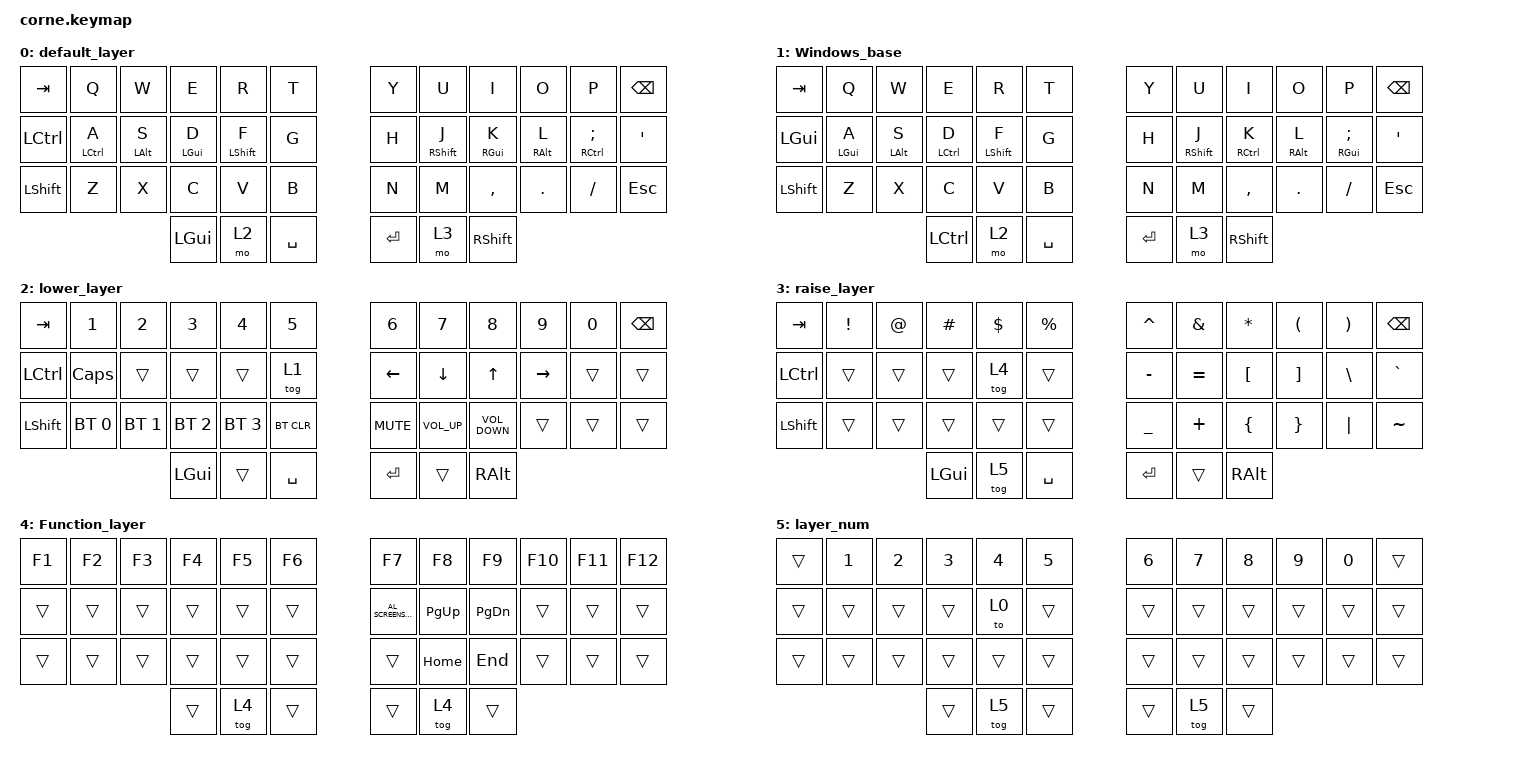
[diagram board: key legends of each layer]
/*
 * Copyright (c) 2020 The ZMK Contributors
 *
 * SPDX-License-Identifier: MIT
 */

#include <behaviors.dtsi>
#include <dt-bindings/zmk/bt.h>
#include <dt-bindings/zmk/keys.h>

/ {
    combos {
        compatible = "zmk,combos";

        toggle3 {
            bindings = <&mo 4>;
            key-positions = <37 40>;
        };
    };

    behaviors {
        HMShiftR: HMShiftR {
            compatible = "zmk,behavior-hold-tap";
            label = "HMSHIFTR";
            bindings = <&kp>, <&kp>;

            #binding-cells = <2>;
            tapping-term-ms = <200>;
            hold-trigger-key-positions = <0 1 2 3 4 5 17 16 15 14 13 12 24 26 25 27 28 29 36 37 38>;
            require-prior-idle-ms = <30>;
            flavor = "balanced";
        };

        HMShiftL: HMShiftL {
            compatible = "zmk,behavior-hold-tap";
            label = "HMSHIFTL";
            bindings = <&kp>, <&kp>;

            #binding-cells = <2>;
            tapping-term-ms = <200>;
            hold-trigger-key-positions = <6 7 8 9 10 11 18 19 20 21 22 23 30 31 32 33 34 35 40 41 39>;
            require-prior-idle-ms = <30>;
            flavor = "balanced";
        };

        HMR: HMR {
            compatible = "zmk,behavior-hold-tap";
            label = "HMR";
            bindings = <&kp>, <&kp>;

            #binding-cells = <2>;
            tapping-term-ms = <200>;
            hold-trigger-key-positions = <0 1 2 3 4 5 17 16 15 14 13 12 24 26 25 27 28 29 36 37 38>;
            hold-trigger-on-release;
            flavor = "tap-preferred";
            require-prior-idle-ms = <125>;
        };

        HML: HML {
            compatible = "zmk,behavior-hold-tap";
            label = "HML";
            bindings = <&kp>, <&kp>;

            #binding-cells = <2>;
            tapping-term-ms = <200>;
            hold-trigger-on-release;
            hold-trigger-key-positions = <6 7 8 9 10 11 18 19 20 21 22 23 30 31 32 33 34 35 40 41 39>;
            flavor = "tap-preferred";
            require-prior-idle-ms = <125>;
        };
    };

    keymap {
        compatible = "zmk,keymap";

        default_layer {
            // -----------------------------------------------------------------------------------------
            // |  TAB |  Q  |  W  |  E  |  R  |  T  |   |  Y  |  U   |  I  |  O  |  P  | BSPC |
            // | CTRL |  A  |  S  |  D  |  F  |  G  |   |  H  |  J   |  K  |  L  |  ;  |  '   |
            // | SHFT |  Z  |  X  |  C  |  V  |  B  |   |  N  |  M   |  ,  |  .  |  /  | ESC  |
            //                    | GUI | LWR | SPC |   | ENT | RSE  | ALT |

            bindings = <
&kp TAB         &kp Q                &kp W            &kp E            &kp R                   &kp T        &kp Y    &kp U                    &kp I             &kp O             &kp P                    &kp BSPC
&kp LCTRL       &HML LEFT_CONTROL A  &HML LEFT_ALT S  &HML LEFT_GUI D  &HMShiftL LEFT_SHIFT F  &kp G        &kp H    &HMShiftR RIGHT_SHIFT J  &HMR RIGHT_GUI K  &HMR RIGHT_ALT L  &HMR RIGHT_CONTROL SEMI  &kp SQT
&kp LEFT_SHIFT  &kp Z                &kp X            &kp C            &kp V                   &kp B        &kp N    &kp M                    &kp COMMA         &kp DOT           &kp FSLH                 &kp ESC
                                                      &kp LGUI         &mo 2                   &kp SPACE    &kp RET  &mo 3                    &kp RIGHT_SHIFT
            >;
        };

        Windows_base {
            bindings = <
&kp TAB    &kp Q            &kp W            &kp E         &kp R              &kp T        &kp Y      &kp U               &kp I            &kp O             &kp P                &kp BSPC
&kp LGUI   &HML LEFT_GUI A  &HML LEFT_ALT S  &HML LCTRL D  &HML LEFT_SHIFT F  &kp G        &kp H      &HML RIGHT_SHIFT J  &HML RCTRL K     &HML RIGHT_ALT L  &HML RIGHT_GUI SEMI  &kp APOS
&kp LSHFT  &kp Z            &kp X            &kp C         &kp V              &kp B        &kp N      &kp M               &kp COMMA        &kp DOT           &kp FSLH             &kp ESC
                                             &kp LCTRL     &mo 2              &kp SPACE    &kp ENTER  &mo 3               &kp RIGHT_SHIFT
            >;
        };

        lower_layer {
            // -----------------------------------------------------------------------------------------
            // |  TAB |  1  |  2  |  3  |  4  |  5  |   |  6  |  7  |  8  |  9  |  0  | BSPC |
            // | BTCLR| BT1 | BT2 | BT3 | BT4 | BT5 |   | LFT | DWN |  UP | RGT |     |      |
            // | SHFT |     |     |     |     |     |   |     |     |     |     |     |      |
            //                    | GUI |     | SPC |   | ENT |     | ALT |

            bindings = <
&kp TAB           &kp N1        &kp N2        &kp N3        &kp N4        &kp N5        &kp N6      &kp N7           &kp N8             &kp N9     &kp N0  &kp BSPC
&kp LEFT_CONTROL  &kp CAPS      &trans        &trans        &trans        &tog 1        &kp LEFT    &kp DOWN         &kp UP             &kp RIGHT  &trans  &trans
&kp LSHFT         &bt BT_SEL 0  &bt BT_SEL 1  &bt BT_SEL 2  &bt BT_SEL 3  &bt BT_CLR    &kp C_MUTE  &kp C_VOLUME_UP  &kp C_VOLUME_DOWN  &trans     &trans  &trans
                                              &kp LGUI      &trans        &kp SPACE     &kp RET     &trans           &kp RALT
            >;
        };

        raise_layer {
            // -----------------------------------------------------------------------------------------
            // |  TAB |  !  |  @  |  #  |  $  |  %  |   |  ^  |  &  |  *  |  (  |  )  | BSPC |
            // | CTRL |     |     |     |     |     |   |  -  |  =  |  [  |  ]  |  \  |  `   |
            // | SHFT |     |     |     |     |     |   |  _  |  +  |  {  |  }  | "|" |  ~   |
            //                    | GUI |     | SPC |   | ENT |     | ALT |

            bindings = <
&kp TAB    &kp EXCL  &kp AT  &kp HASH  &kp DLLR  &kp PRCNT    &kp CARET  &kp AMPS   &kp ASTRK  &kp LPAR  &kp RPAR  &kp BSPC
&kp LCTRL  &trans    &trans  &trans    &tog 4    &trans       &kp MINUS  &kp EQUAL  &kp LBKT   &kp RBKT  &kp BSLH  &kp GRAVE
&kp LSHFT  &trans    &trans  &trans    &trans    &trans       &kp UNDER  &kp PLUS   &kp LBRC   &kp RBRC  &kp PIPE  &kp TILDE
                             &kp LGUI  &tog 5    &kp SPACE    &kp RET    &trans     &kp RALT
            >;
        };

        Function_layer {
            bindings = <
&kp F1  &kp F2  &kp F3  &kp F4  &kp F5  &kp F6    &kp F7                &kp F8       &kp F9         &kp F10  &kp F11  &kp F12
&trans  &trans  &trans  &trans  &trans  &trans    &kp C_AL_SCREENSAVER  &kp PAGE_UP  &kp PAGE_DOWN  &trans   &trans   &trans
&trans  &trans  &trans  &trans  &trans  &trans    &trans                &kp HOME     &kp END        &trans   &trans   &trans
                        &trans  &tog 4  &trans    &trans                &tog 4       &trans
            >;
        };

        layer_num {
            bindings = <
&trans  &kp NUMBER_1  &kp NUMBER_2  &kp NUMBER_3  &kp NUMBER_4  &kp NUMBER_5    &kp NUMBER_6  &kp NUMBER_7  &kp NUMBER_8  &kp NUMBER_9  &kp NUMBER_0  &trans
&trans  &trans        &trans        &trans        &to 0         &trans          &trans        &trans        &trans        &trans        &trans        &trans
&trans  &trans        &trans        &trans        &trans        &trans          &trans        &trans        &trans        &trans        &trans        &trans
                                    &trans        &tog 5        &trans          &trans        &tog 5        &trans
            >;
        };
    };
};
